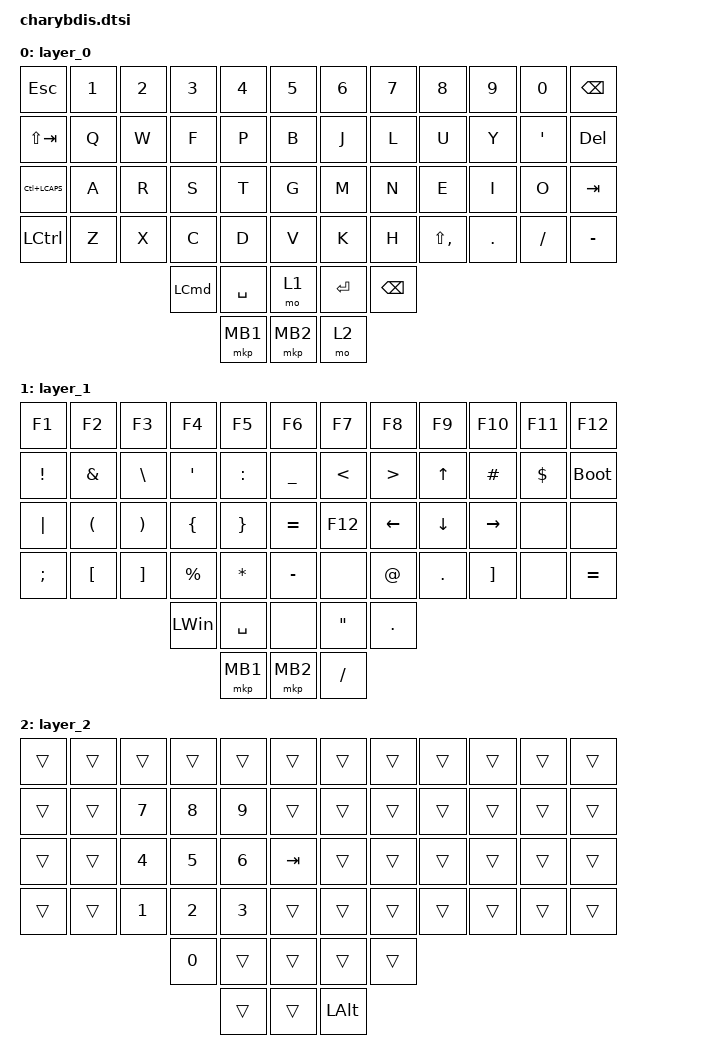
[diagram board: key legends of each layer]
#include <dt-bindings/zmk/mouse.h>
#include <behaviors.dtsi>
#include <dt-bindings/zmk/keys.h>
#include <dt-bindings/zmk/pointing.h>

&lt {
    tapping-term-ms = <200>;
    flavor = "balanced";
    quick-tap-ms = <150>;
};

/ {
    behaviors {
        tmv_coarse: trackball_coarse {
            compatible = "zmk,behavior-point-device-directional";
            #binding-cells = <0>;
            mode = "move-mode";
            scale-multiplier = <3>;  // Normal speed
        };
        
        tmv_fine: trackball_fine {
            compatible = "zmk,behavior-point-device-directional";
            #binding-cells = <0>;
            mode = "move-mode";
            scale-multiplier = <1>;  // Sniper mode (slower/more precise)
        };

        tsl: trackball_scroll {
            compatible = "zmk,behavior-point-device-directional";
            #binding-cells = <0>;
            mode = "scroll-mode";
            scale-multiplier = <1>;
        };
    };

    keymap {
        compatible = "zmk,keymap";

        layer_0 {
            bindings = <
&kp ESC        &kp N1  &kp N2  &kp N3            &kp N4     &kp N5      &kp N6     &kp N7         &kp N8         &kp N9   &kp N0            &kp BACKSPACE
&kp LS(TAB)    &kp Q   &kp W   &kp F             &kp P      &kp B       &kp J      &kp L          &kp U          &kp Y    &kp SINGLE_QUOTE  &kp DEL
&kp LC(LCAPS)  &kp A   &kp R   &kp S             &kp T      &kp G       &kp M      &kp N          &kp E          &kp I    &kp O             &kp TAB
&kp LCTRL      &kp Z   &kp X   &kp C             &kp D      &kp V       &kp K      &kp H          &kp LS(COMMA)  &kp DOT  &kp FSLH          &kp MINUS
                               &kp LEFT_COMMAND  &kp SPACE  &mo 1       &kp ENTER  &kp BACKSPACE
                                                 &mkp MB1   &mkp MB2    &mo 2
            >;

            trackball-bindings = <&tmv_coarse>;
        };

        layer_1 {
            bindings = <
&kp F1           &kp F2                &kp F3                 &kp F4          &kp F5           &kp F6            &kp F7             &kp F8            &kp F9      &kp F10            &kp F11     &kp F12
&kp EXCLAMATION  &kp AMPERSAND         &kp BACKSLASH          &kp SQT         &kp COLON        &kp UNDERSCORE    &kp LESS_THAN      &kp GREATER_THAN  &kp UP      &kp HASH           &kp DOLLAR  &bootloader
&kp PIPE         &kp LEFT_PARENTHESIS  &kp RIGHT_PARENTHESIS  &kp LEFT_BRACE  &kp RIGHT_BRACE  &kp EQUAL         &kp F12            &kp LEFT          &kp DOWN    &kp RIGHT          &none       &none
&kp SEMICOLON    &kp LEFT_BRACKET      &kp RIGHT_BRACKET      &kp PERCENT     &kp ASTERISK     &kp MINUS         &none              &kp AT_SIGN       &kp PERIOD  &kp RIGHT_BRACKET  &none       &kp EQUAL
                                                              &kp LEFT_WIN    &kp SPACE        &none             &kp DOUBLE_QUOTES  &kp PERIOD
                                                                              &mkp MB1         &mkp MB2          &kp SLASH
            >;

            trackball-bindings = <&tsl>;
        };

        layer_2 {
            bindings = <
&trans  &trans  &trans        &trans        &trans        &trans     &trans        &trans  &trans  &trans  &trans  &trans
&trans  &trans  &kp NUMBER_7  &kp NUMBER_8  &kp NUMBER_9  &trans     &trans        &trans  &trans  &trans  &trans  &trans
&trans  &trans  &kp NUMBER_4  &kp NUMBER_5  &kp NUMBER_6  &kp TAB    &trans        &trans  &trans  &trans  &trans  &trans
&trans  &trans  &kp NUMBER_1  &kp NUMBER_2  &kp NUMBER_3  &trans     &trans        &trans  &trans  &trans  &trans  &trans
                              &kp N0        &trans        &trans     &trans        &trans
                                            &trans        &trans     &kp LEFT_ALT
            >;

            trackball-bindings = <&tmv_fine>;
        };
    };
};
